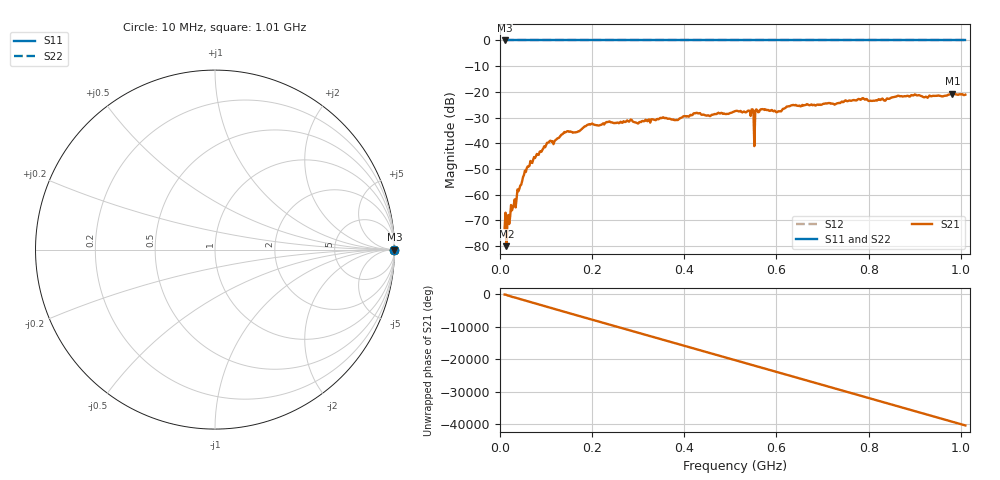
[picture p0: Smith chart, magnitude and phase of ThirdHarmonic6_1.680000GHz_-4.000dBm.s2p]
! 8/16/2025 8:09:25 PM
! C:\ANRITSUVNA\TEMP\TEMP.S2P
! CHANNEL.1
! TR.MEASUREMENT
! RAW.DATA
! RF.CORRECTION.OFF
! AVERAGING.OFF
! IF.BANDWIDTH: 5KHZ
! SWEEPTYPE:  FREQ.SWEEP(Linear)
! Reference Plane Port Info
! PORT:  PORT1  PORT2
! DISTANCE:  0  m  0  m
! TIME:  0  s  0  s
! PHASE.OFFSET:  0  deg.  0  deg.
! LOSS:  0  dB  0  dB
! REF.LOSS:  0  dB  0  dB
! REF.FREQ:  0  Hz  0  Hz
! Power Info
! POWER:  -20  dBm  -20  dBm
! EFF.POWER:  -20  dBm  -20  dBm
! SOURCE.ATTEN:  0  dB  0  dB
! TEST.ATTEN:  0  dB  0  dB
# GHZ S RI R 50.0
! FREQ.GHZ  S11RE  S11IM  S21RE  S21IM  S12RE  S12IM  S22RE  S22IM
!; PortSelection: Port_12
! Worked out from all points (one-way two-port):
!   501 points, 10 MHz to 1.01 GHz, reference 50 ohm
!   highest |S21| = -20.75 dB at 982 MHz (marker M1); lowest = -80.0 dB at 14 MHz (marker M2)
!   lowest |S11| = 0.0 dB at 10 MHz (marker M3)
!   |S11| at or under -10 dB: nowhere
!   |S22| runs from 0.0 to 0.0 dB; largest |S21 - S12| = 1.1
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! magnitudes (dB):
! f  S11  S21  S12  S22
! 10 MHz  0.0  -73.1  0.0  0.0
! 14 MHz  0.0  -80.0  0.0  0.0
! 18 MHz  0.0  -67.9  0.0  0.0
! 20 MHz  0.0  -71.4  0.0  0.0
! 54 MHz  0.0  -50.6  0.0  0.0
! 76 MHz  0.0  -45.7  0.0  0.0
! 106 MHz  0.0  -39.6  0.0  0.0
! 142 MHz  0.0  -35.7  0.0  0.0
! 178 MHz  0.0  -34.4  0.0  0.0
! 234 MHz  0.0  -31.7  0.0  0.0
! 344 MHz  0.0  -30.7  0.0  0.0
! 510 MHz  0.0  -27.5  0.0  0.0
! 546 MHz  0.0  -26.8  0.0  0.0
! 548 MHz  0.0  -26.8  0.0  0.0
! 558 MHz  0.0  -27.1  0.0  0.0
! 568 MHz  0.0  -26.8  0.0  0.0
! 604 MHz  0.0  -27.5  0.0  0.0
! 634 MHz  0.0  -25.2  0.0  0.0
! 678 MHz  0.0  -25.2  0.0  0.0
! 844 MHz  0.0  -22.7  0.0  0.0
! 982 MHz  0.0  -20.8  0.0  0.0
! 1.01 GHz  0.0  -21.1  0.0  0.0
